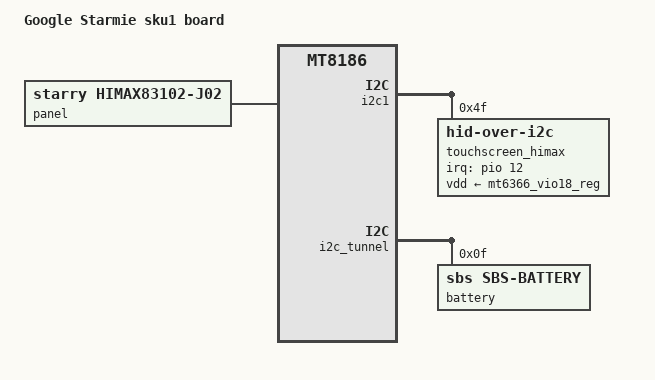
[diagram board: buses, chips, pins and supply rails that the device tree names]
// SPDX-License-Identifier: (GPL-2.0 OR MIT)
/*
 * Copyright 2023 Google LLC
 */

/dts-v1/;
#include "mt8186-corsola-starmie.dtsi"

/ {
	model = "Google Starmie sku1 board";
	compatible = "google,starmie-sku1", "google,starmie-sku4",
		     "google,starmie", "mediatek,mt8186";
};

&panel {
	compatible = "starry,himax83102-j02";
};

&i2c1 {
	/delete-node/ touchscreen@41;
	touchscreen_himax: touchscreen@4f {
		status = "okay";

		compatible = "hid-over-i2c";
		reg = <0x4f>;
		interrupt-parent = <&pio>;
		interrupts = <12 IRQ_TYPE_LEVEL_LOW>;
		pinctrl-names = "default";
		pinctrl-0 = <&touchscreen_pins>;
		vdd-supply = <&mt6366_vio18_reg>;
		panel = <&panel>;
		post-power-on-delay-ms = <450>;
		hid-descr-addr = <0x0001>;
	};
};

&i2c_tunnel {
	/delete-node/ sbs-battery@b;

	battery: sbs-battery@f {
		compatible = "sbs,sbs-battery";
		reg = <0xf>;
		sbs,i2c-retry-count = <2>;
		sbs,poll-retry-count = <1>;
	};
};
